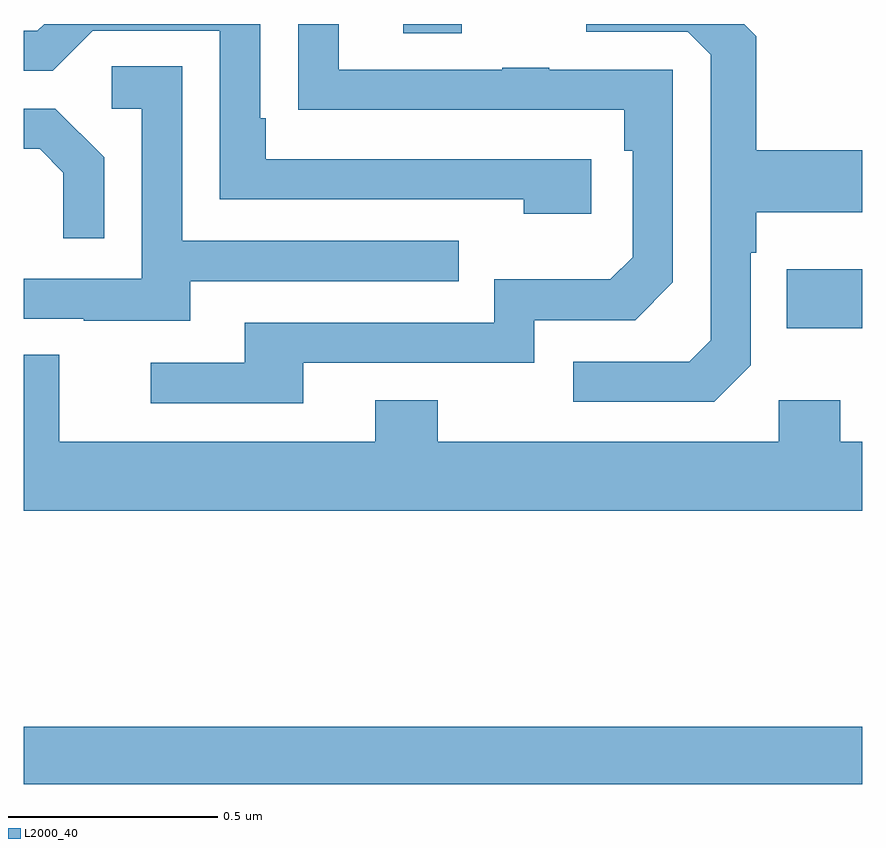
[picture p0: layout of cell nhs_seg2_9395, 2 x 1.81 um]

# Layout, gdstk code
import gdstk
lib = gdstk.Library(unit=1e-6, precision=1e-09)
def R(c, l, rs):  # rectangles x0, y0, x1, y1
    for r in rs: c.add(gdstk.rectangle(r[:2], r[2:], *l))
def P(c, l, *ps):  # polygons
    for p in ps: c.add(gdstk.Polygon(p, *l))
L2000_40 = (2000, 40)

nhs_seg2_9395 = lib.new_cell('nhs_seg2_9395')
R(nhs_seg2_9395, L2000_40, [(228,642.988,230,643.124), (229.819,644.075,230,644.215), (228.905,644.778,229.045,644.8)])
P(nhs_seg2_9395, L2000_40, [(229.734,643.986),(229.734,644.255),(229.747,644.255),(229.747,644.351),(230,644.351),(230,644.499),(229.747,644.499),(229.747,644.771),(229.718,644.8),(229.341,644.8),(229.341,644.781),(229.584,644.781),(229.638,644.727),(229.638,644.046),(229.587,643.995),(229.311,643.995),(229.311,643.899),(229.647,643.899)],
  [(228.667,643.992),(229.218,643.992),(229.218,644.094),(229.458,644.094),(229.548,644.184),(229.548,644.691),(229.253,644.691),(229.253,644.696),(229.141,644.696),(229.141,644.691),(228.751,644.691),(228.751,644.8),(228.655,644.8),(228.655,644.596),(228.757,644.596),(228.757,644.595),(229.432,644.595),(229.432,644.498),(229.452,644.498),(229.452,644.244),(229.399,644.191),(229.122,644.191),(229.122,644.088),(228.527,644.088),(228.527,643.992),(228.303,643.992),(228.303,643.896),(228.667,643.896)],
  [(229.354,644.478),(228.577,644.478),(228.577,644.575),(228.564,644.575),(228.564,644.8),(228.049,644.8),(228.033,644.784),(228,644.784),(228,644.688),(228.069,644.688),(228.165,644.784),(228.468,644.784),(228.468,644.382),(229.193,644.382),(229.193,644.348),(229.354,644.348)],
  [(228.397,644.187),(229.037,644.187),(229.037,644.283),(228.378,644.283),(228.378,644.699),(228.21,644.699),(228.21,644.598),(228.282,644.598),(228.282,644.193),(228,644.193),(228,644.097),(228.143,644.097),(228.143,644.093),(228.397,644.093)],
  [(228.192,644.482),(228.076,644.598),(228,644.598),(228,644.502),(228.038,644.502),(228.095,644.445),(228.095,644.289),(228.192,644.289)],
  [(230,643.804),(229.947,643.804),(229.947,643.903),(229.8,643.903),(229.8,643.804),(228.987,643.804),(228.987,643.903),(228.839,643.903),(228.839,643.804),(228.085,643.804),(228.085,644.012),(228,644.012),(228,643.64),(230,643.64)])

lib.write_gds('nhs_seg2_9395.gds')
